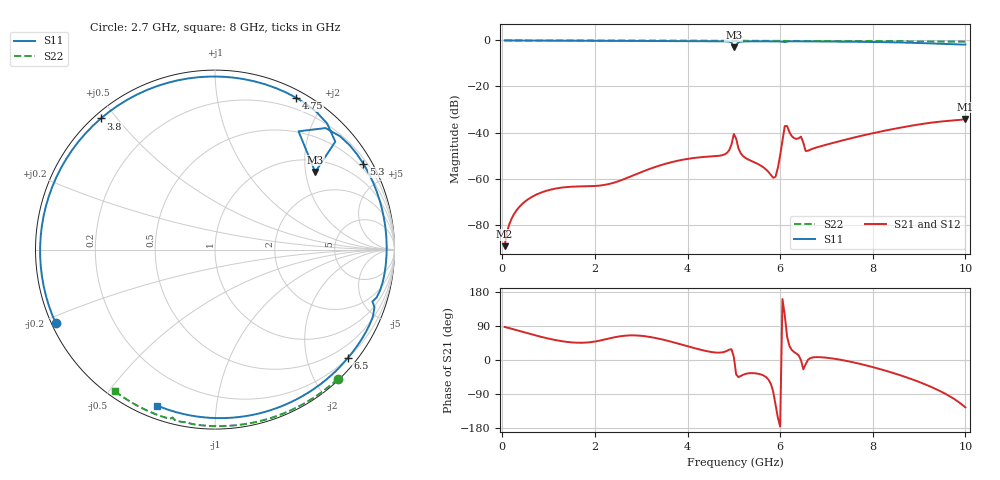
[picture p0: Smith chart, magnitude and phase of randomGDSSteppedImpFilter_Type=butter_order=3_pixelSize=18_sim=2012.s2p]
! freq	dB(S11)	phase(S11)	dB(S12)	phase(S12)
!  dB(S21)	phase(S21)	dB(S22)	phase(S22)
!S-par simulation data
#  GHz  S  DB  R 50
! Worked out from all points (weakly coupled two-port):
!   200 points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, 50 MHz to 10 GHz, reference 50 ohm
!   highest |S21| = -34.17 dB at 10 GHz (marker M1); lowest = -89.4 dB at 50 MHz (marker M2)
!   lowest |S11| = -3.0 dB at 5 GHz (marker M3), VSWR 5.80, Z = 65.8 + j113 ohm
!   |S11| at or under -10 dB: nowhere
!   |S22| runs from -0.5 to 0.0 dB; largest |S21 - S12| = 0
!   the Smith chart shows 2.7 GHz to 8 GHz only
!   S11 on the Smith chart (normalised r, x): 2.7 GHz: 0.01, -0.22; 3.8 GHz: 0.02, +0.46; 4.75 GHz: 0.08, +1.67; 5.3 GHz: 0.34, +3.70; 6.5 GHz: 0.20, -2.79; 8 GHz: 0.06, -0.69
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0.05  -0.00 -2.9  -89.39 87.1  -89.39 87.1  -0.00 -0.9
0.7  -0.05 -39.1  -67.32 65.4  -67.32 65.4  -0.01 -12.3
1.75  -0.12 -98.3  -63.40 45.6  -63.40 45.6  -0.04 -30.4
2.7  -0.20 -155.2  -59.69 64.6  -59.69 64.6  -0.06 -46.4
3.4  -0.25 158.9  -54.33 55.7  -54.33 55.7  -0.08 -57.8
3.8  -0.28 131.0  -52.21 43.2  -52.21 43.2  -0.09 -64.2
4.3  -0.31 95.1  -50.71 26.6  -50.71 26.6  -0.10 -72.0
4.75  -0.36 61.8  -49.85 20.2  -49.85 20.2  -0.12 -78.9
4.9  -0.53 48.4  -47.69 27.3  -47.69 27.3  -0.12 -81.2
5  -3.03 37.7  -40.65 7.9  -40.65 7.9  -0.13 -82.7
5.05  -1.86 54.8  -42.70 -38.3  -42.70 -38.3  -0.13 -83.4
5.3  -0.40 30.1  -51.63 -35.4  -51.63 -35.4  -0.14 -87.2
5.85  -0.40 -4.9  -59.68 -83.6  -59.68 -83.6  -0.16 -95.3
5.95  -0.43 -10.7  -55.41 -151.5  -55.41 -151.5  -0.17 -96.8
6.1  -0.69 -18.3  -37.20 117.6  -37.20 117.6  -0.23 -99.0
6.5  -0.40 -39.3  -44.41 -24.7  -44.41 -24.7  -0.31 -104.1
6.7  -0.41 -49.3  -47.05 6.8  -47.05 6.8  -0.21 -107.1
8  -0.66 -110.3  -40.31 -18.7  -40.31 -18.7  -0.30 -125.4
8.35  -0.78 -127.9  -38.84 -30.9  -38.84 -30.9  -0.33 -130.2
9.3  -1.33 168.1  -35.63 -73.1  -35.63 -73.1  -0.43 -143.4
9.65  -1.61 131.1  -34.90 -94.8  -34.90 -94.8  -0.47 -148.3
10  -1.79 82.1  -34.17 -124.9  -34.17 -124.9  -0.52 -153.3
